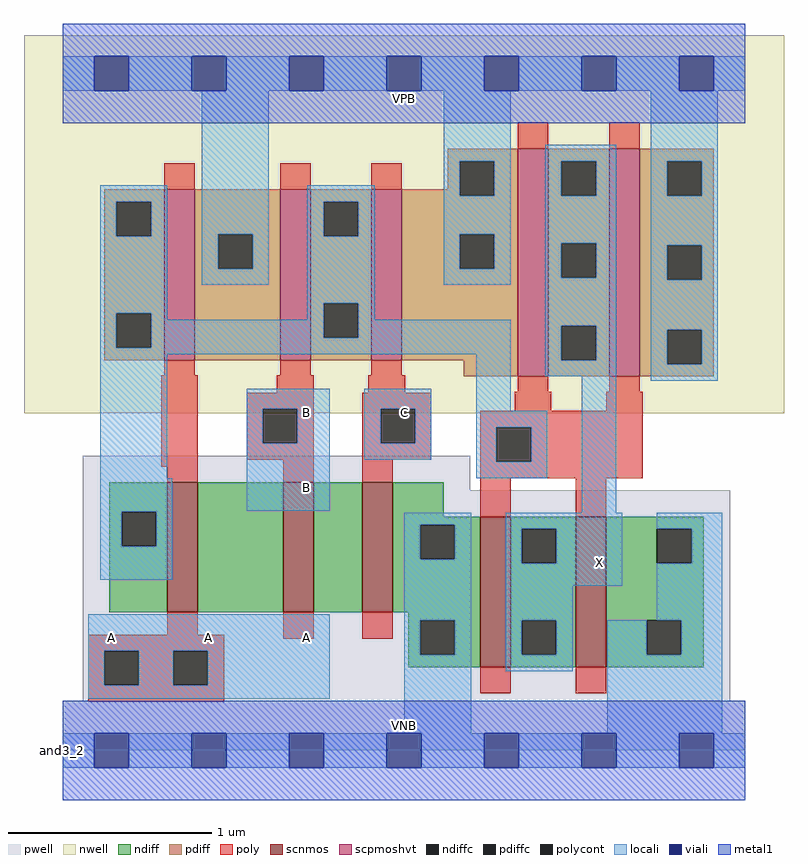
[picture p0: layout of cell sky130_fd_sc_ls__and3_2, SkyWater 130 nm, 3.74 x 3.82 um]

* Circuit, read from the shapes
.subckt sky130_fd_sc_ls__and3_2 A B C VGND VNB VPB VPWR X
XM1 n1 A n2 VNB sky130_fd_pr__nfet_01v8 w=0.64 l=0.15
XM2 n3 B n1 VNB sky130_fd_pr__nfet_01v8 w=0.64 l=0.15
XM3 VGND C n3 VNB sky130_fd_pr__nfet_01v8 w=0.64 l=0.15
XM4 X n2 VGND VNB sky130_fd_pr__nfet_01v8 w=0.74 l=0.15 m=2
XM5 VPWR A n2 VPB sky130_fd_pr__pfet_01v8_hvt w=0.84 l=0.15
XM6 n2 B VPWR VPB sky130_fd_pr__pfet_01v8_hvt w=0.84 l=0.15
XM7 VPWR C n2 VPB sky130_fd_pr__pfet_01v8_hvt w=0.84 l=0.15
XM8 X n2 VPWR VPB sky130_fd_pr__pfet_01v8_hvt w=1.12 l=0.15 m=2
.ends

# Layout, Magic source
magic
tech sky130A
magscale 1 2
<< nwell >>
rect -38 332 710 704
<< pwell >>
rect 20 256 401 290
rect 20 49 657 256
rect 0 0 672 49
<< scnmos >>
rect 103 136 133 264
rect 217 136 247 264
rect 295 136 325 264
rect 411 82 441 230
rect 505 82 535 230
<< scpmoshvt >>
rect 100 384 130 552
rect 214 384 244 552
rect 304 384 334 552
rect 448 368 478 592
rect 538 368 568 592
<< ndiff >>
rect 46 235 103 264
rect 46 201 58 235
rect 92 201 103 235
rect 46 136 103 201
rect 133 136 217 264
rect 247 136 295 264
rect 325 230 375 264
rect 325 222 411 230
rect 325 188 352 222
rect 386 188 411 222
rect 325 136 411 188
rect 340 128 411 136
rect 340 94 352 128
rect 386 94 411 128
rect 340 82 411 94
rect 441 218 505 230
rect 441 184 452 218
rect 486 184 505 218
rect 441 128 505 184
rect 441 94 452 128
rect 486 94 505 128
rect 441 82 505 94
rect 535 218 631 230
rect 535 184 585 218
rect 619 184 631 218
rect 535 128 631 184
rect 535 94 575 128
rect 609 94 631 128
rect 535 82 631 94
<< pdiff >>
rect 379 580 448 592
rect 379 552 391 580
rect 41 540 100 552
rect 41 506 53 540
rect 87 506 100 540
rect 41 430 100 506
rect 41 396 53 430
rect 87 396 100 430
rect 41 384 100 396
rect 130 508 214 552
rect 130 474 153 508
rect 187 474 214 508
rect 130 384 214 474
rect 244 540 304 552
rect 244 506 257 540
rect 291 506 304 540
rect 244 440 304 506
rect 244 406 257 440
rect 291 406 304 440
rect 244 384 304 406
rect 334 546 391 552
rect 425 546 448 580
rect 334 508 448 546
rect 334 474 391 508
rect 425 474 448 508
rect 334 384 448 474
rect 395 368 448 384
rect 478 580 538 592
rect 478 546 491 580
rect 525 546 538 580
rect 478 499 538 546
rect 478 465 491 499
rect 525 465 538 499
rect 478 418 538 465
rect 478 384 491 418
rect 525 384 538 418
rect 478 368 538 384
rect 568 580 641 592
rect 568 546 595 580
rect 629 546 641 580
rect 568 497 641 546
rect 568 463 595 497
rect 629 463 641 497
rect 568 414 641 463
rect 568 380 595 414
rect 629 380 641 414
rect 568 368 641 380
<< ndiffc >>
rect 58 201 92 235
rect 352 188 386 222
rect 352 94 386 128
rect 452 184 486 218
rect 452 94 486 128
rect 585 184 619 218
rect 575 94 609 128
<< pdiffc >>
rect 53 506 87 540
rect 53 396 87 430
rect 153 474 187 508
rect 257 506 291 540
rect 257 406 291 440
rect 391 546 425 580
rect 391 474 425 508
rect 491 546 525 580
rect 491 465 525 499
rect 491 384 525 418
rect 595 546 629 580
rect 595 463 629 497
rect 595 380 629 414
<< poly >>
rect 448 592 478 618
rect 538 592 568 618
rect 100 552 130 578
rect 214 552 244 578
rect 304 552 334 578
rect 100 369 130 384
rect 214 369 244 384
rect 304 369 334 384
rect 97 279 133 369
rect 211 352 247 369
rect 301 352 337 369
rect 448 353 478 368
rect 538 353 568 368
rect 181 336 247 352
rect 181 302 197 336
rect 231 302 247 336
rect 181 286 247 302
rect 103 264 133 279
rect 217 264 247 286
rect 295 336 363 352
rect 295 302 313 336
rect 347 302 363 336
rect 445 334 481 353
rect 535 334 571 353
rect 295 286 363 302
rect 411 318 571 334
rect 295 264 325 286
rect 411 284 427 318
rect 461 284 571 318
rect 411 268 571 284
rect 411 230 441 268
rect 505 230 535 268
rect 103 114 133 136
rect 25 98 159 114
rect 217 110 247 136
rect 295 110 325 136
rect 25 64 41 98
rect 75 64 109 98
rect 143 64 159 98
rect 25 48 159 64
rect 411 56 441 82
rect 505 56 535 82
<< polycont >>
rect 197 302 231 336
rect 313 302 347 336
rect 427 284 461 318
rect 41 64 75 98
rect 109 64 143 98
<< locali >>
rect 0 649 31 683
rect 65 649 127 683
rect 161 649 223 683
rect 257 649 319 683
rect 353 649 415 683
rect 449 649 511 683
rect 545 649 607 683
rect 641 649 672 683
rect 37 540 103 556
rect 37 506 53 540
rect 87 506 103 540
rect 37 430 103 506
rect 137 508 203 649
rect 375 580 441 649
rect 137 474 153 508
rect 187 474 203 508
rect 137 458 203 474
rect 241 540 307 556
rect 241 506 257 540
rect 291 506 307 540
rect 37 396 53 430
rect 87 424 103 430
rect 241 440 307 506
rect 375 546 391 580
rect 425 546 441 580
rect 375 508 441 546
rect 375 474 391 508
rect 425 474 441 508
rect 375 458 441 474
rect 475 580 545 596
rect 475 546 491 580
rect 525 546 545 580
rect 475 499 545 546
rect 475 465 491 499
rect 525 465 545 499
rect 241 424 257 440
rect 87 406 257 424
rect 291 424 307 440
rect 291 406 441 424
rect 87 396 441 406
rect 37 390 441 396
rect 37 268 103 390
rect 181 336 263 356
rect 181 302 197 336
rect 231 302 263 336
rect 37 235 108 268
rect 181 236 263 302
rect 297 336 363 356
rect 297 302 313 336
rect 347 302 363 336
rect 297 286 363 302
rect 407 334 441 390
rect 475 418 545 465
rect 475 384 491 418
rect 525 384 545 418
rect 475 368 545 384
rect 407 318 477 334
rect 407 284 427 318
rect 461 284 477 318
rect 407 268 477 284
rect 37 201 58 235
rect 92 201 108 235
rect 511 234 545 368
rect 579 580 645 649
rect 579 546 595 580
rect 629 546 645 580
rect 579 497 645 546
rect 579 463 595 497
rect 629 463 645 497
rect 579 414 645 463
rect 579 380 595 414
rect 629 380 645 414
rect 579 364 645 380
rect 37 168 108 201
rect 336 222 402 234
rect 336 188 352 222
rect 386 188 402 222
rect 25 98 263 134
rect 25 64 41 98
rect 75 64 109 98
rect 143 64 263 98
rect 25 51 263 64
rect 336 128 402 188
rect 336 94 352 128
rect 386 94 402 128
rect 336 17 402 94
rect 436 218 551 234
rect 436 184 452 218
rect 486 184 551 218
rect 436 162 551 184
rect 585 218 649 234
rect 619 184 649 218
rect 436 128 502 162
rect 585 128 649 184
rect 436 94 452 128
rect 486 94 502 128
rect 436 78 502 94
rect 536 94 575 128
rect 609 94 649 128
rect 536 17 649 94
rect 0 -17 31 17
rect 65 -17 127 17
rect 161 -17 223 17
rect 257 -17 319 17
rect 353 -17 415 17
rect 449 -17 511 17
rect 545 -17 607 17
rect 641 -17 672 17
<< viali >>
rect 31 649 65 683
rect 127 649 161 683
rect 223 649 257 683
rect 319 649 353 683
rect 415 649 449 683
rect 511 649 545 683
rect 607 649 641 683
rect 31 -17 65 17
rect 127 -17 161 17
rect 223 -17 257 17
rect 319 -17 353 17
rect 415 -17 449 17
rect 511 -17 545 17
rect 607 -17 641 17
<< metal1 >>
rect 0 683 672 715
rect 0 649 31 683
rect 65 649 127 683
rect 161 649 223 683
rect 257 649 319 683
rect 353 649 415 683
rect 449 649 511 683
rect 545 649 607 683
rect 641 649 672 683
rect 0 617 672 649
rect 0 17 672 49
rect 0 -17 31 17
rect 65 -17 127 17
rect 161 -17 223 17
rect 257 -17 319 17
rect 353 -17 415 17
rect 449 -17 511 17
rect 545 -17 607 17
rect 641 -17 672 17
rect 0 -49 672 -17
<< labels >>
rlabel comment s 0 0 0 0 4 and3_2
flabel pwell s 0 0 672 49 0 FreeSans 200 0 0 0 VNB
port 5 nsew ground bidirectional
flabel nwell s 0 617 672 666 0 FreeSans 200 0 0 0 VPB
port 6 nsew power bidirectional
flabel metal1 s 0 617 672 666 0 FreeSans 340 0 0 0 VPWR
port 7 nsew power bidirectional abutment
flabel metal1 s 0 0 672 49 0 FreeSans 340 0 0 0 VGND
port 4 nsew ground bidirectional abutment
flabel locali s 319 316 353 350 0 FreeSans 340 0 0 0 C
port 3 nsew signal input
flabel locali s 511 168 545 202 0 FreeSans 340 0 0 0 X
port 8 nsew signal output
flabel locali s 31 94 65 128 0 FreeSans 340 0 0 0 A
port 1 nsew signal input
flabel locali s 127 94 161 128 0 FreeSans 340 0 0 0 A
port 1 nsew signal input
flabel locali s 223 94 257 128 0 FreeSans 340 0 0 0 A
port 1 nsew signal input
flabel locali s 223 242 257 276 0 FreeSans 340 0 0 0 B
port 2 nsew signal input
flabel locali s 223 316 257 350 0 FreeSans 340 0 0 0 B
port 2 nsew signal input
<< properties >>
string LEFsite unit
string LEFclass CORE
string FIXED_BBOX 0 0 672 666
string GDS_FILE $PDKPATH/libs.ref/sky130_fd_sc_ls/gds/sky130_fd_sc_ls.gds
string LEFsymmetry X Y
string GDS_END 2964122
string GDS_START 2957756
<< end >>
